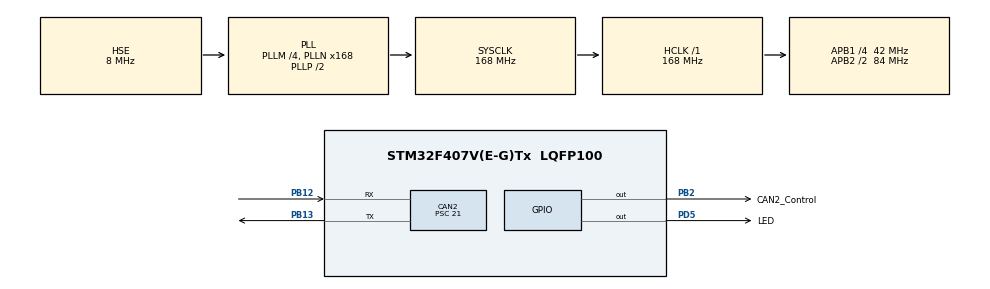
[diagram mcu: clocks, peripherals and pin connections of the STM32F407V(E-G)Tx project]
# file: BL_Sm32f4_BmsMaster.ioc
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CAN2.BS1=CAN_BS1_5TQ
CAN2.BS2=CAN_BS2_2TQ
CAN2.CalculateTimeBit=4000
CAN2.CalculateTimeQuantum=500.0
CAN2.Prescaler=21
Mcu.Family=STM32F4
Mcu.Name=STM32F407V(E-G)Tx
Mcu.Package=LQFP100
NVIC.CAN2_RX0_IRQn=true\:5\:0\:false\:false\:true\:true\:true
NVIC.CAN2_RX1_IRQn=true\:5\:0\:false\:false\:true\:true\:true
NVIC.CAN2_SCE_IRQn=true\:5\:0\:false\:false\:true\:true\:true
NVIC.CAN2_TX_IRQn=true\:5\:0\:false\:false\:true\:true\:true
NVIC.PriorityGroup=NVIC_PRIORITYGROUP_4
PA13.Mode=Serial_Wire
PA13.Signal=SYS_JTMS-SWDIO
PA14.Mode=Serial_Wire
PA14.Signal=SYS_JTCK-SWCLK
PB12.Mode=Slave
PB12.Signal=CAN2_RX
PB13.Mode=Slave
PB13.Signal=CAN2_TX
PB2.GPIO_Label=CAN2_Control
PB2.Signal=GPIO_Output
PD5.GPIO_Label=LED
PD5.Signal=GPIO_Output
PH0-OSC_IN.Mode=HSE-External-Oscillator
PH0-OSC_IN.Signal=RCC_OSC_IN
PH1-OSC_OUT.Mode=HSE-External-Oscillator
PH1-OSC_OUT.Signal=RCC_OSC_OUT
ProjectManager.HeapSize=0x200
ProjectManager.StackSize=0x400
ProjectManager.TargetToolchain=MDK-ARM V5
RCC.48MHZClocksFreq_Value=48000000
RCC.AHBFreq_Value=168000000
RCC.APB1CLKDivider=RCC_HCLK_DIV4
RCC.APB1Freq_Value=42000000
RCC.APB1TimFreq_Value=84000000
RCC.APB2CLKDivider=RCC_HCLK_DIV2
RCC.APB2Freq_Value=84000000
RCC.APB2TimFreq_Value=168000000
RCC.CortexFreq_Value=168000000
RCC.HCLKFreq_Value=168000000
RCC.HSE_VALUE=8000000
RCC.HSI_VALUE=16000000
RCC.LSE_VALUE=32768
RCC.PLLM=4
RCC.PLLN=168
RCC.PLLQ=7
RCC.PLLSourceVirtual=RCC_PLLSOURCE_HSE
RCC.SYSCLKFreq_VALUE=168000000
RCC.SYSCLKSource=RCC_SYSCLKSOURCE_PLLCLK
RCC.VCOOutputFreq_Value=336000000
board=STM32F4DISCOVERY

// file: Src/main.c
/* USER CODE BEGIN Header */
/**
  ******************************************************************************
  * @file           : main.c
  * @brief          : Main program body
  ******************************************************************************
  * @attention
  *
  * <h2><center>&copy; Copyright (c) 2019 STMicroelectronics.
  * All rights reserved.</center></h2>
  *
  * This software component is licensed by ST under BSD 3-Clause license,
  * the "License"; You may not use this file except in compliance with the
  * License. You may obtain a copy of the License at:
  *                        opensource.org/licenses/BSD-3-Clause
  *
  ******************************************************************************
  */
/* USER CODE END Header */

#include "main.h"
#include "can.h"
#include "gpio.h"

/* USER CODE BEGIN Includes */
#include <string.h>

#define  WAIT_HOST    0
#define IDLE        1
#define PAGE_PROG    2

// Flash configuration
#define MAIN_PROGRAM_START_ADDRESS              (uint32_t)0x08004000
#define BOOTLOADER_PROGRAM_START_ADDRESS        (uint32_t)0x08000000
#define MAIN_PROGRAM_PAGE_NUMBER                8
#define NUM_OF_PAGES                            (64)

// CAN identifiers
#define DEVICE_CAN_ID                           0x78E
#define CMD_HOST_INIT                           0x01
#define CMD_PAGE_PROG                           0x02
#define CMD_BOOT                                0x03

#define CAN_RESP_OK                             0x01
#define CAN_RESP_ERROR                          0x02
#define FLASH_PAGE_SIZE                         2048
/* USER CODE END Includes */

/* USER CODE BEGIN PD */
uint32_t canErrorCode;
/* USER CODE END PD */

/* USER CODE BEGIN PV */
/* Private variables ---------------------------------------------------------*/
static FLASH_EraseInitTypeDef eraseInitStruct;

uint8_t                       PageBuffer[FLASH_PAGE_SIZE];
volatile int                  PageBufferPtr;
uint8_t                       PageIndex;
uint32_t                      PageCRC;
uint32_t                      CalculatedCrc;
volatile uint8_t              blState;

/* USER CODE END PV */

void SystemClock_Config(void);
/* USER CODE BEGIN PFP */
/* Private function prototypes -----------------------------------------------*/
/*
  Name  : CRC-32
  Poly  : 0x04C11DB7    x^32 + x^26 + x^23 + x^22 + x^16 + x^12 + x^11
                       + x^10 + x^8 + x^7 + x^5 + x^4 + x^2 + x + 1
  Init  : 0xFFFFFFFF
  Revert: true
  XorOut: 0xFFFFFFFF
  Check : 0xCBF43926 ("123456789")
  MaxLen: 268 435 455 байт (2 147 483 647 бит) - обнаружение
   одинарных, двойных, пакетных и всех нечетных ошибок
*/
uint32_t Crc32(const uint8_t *buf, uint32_t len);
void JumpToApplication(void);
HAL_StatusTypeDef TransmitResponsePacket(uint8_t response);
/* USER CODE END PFP */

int main(void)
{

  /* MCU Configuration--------------------------------------------------------*/

  /* Reset of all peripherals, Initializes the Flash interface and the Systick. */
  HAL_Init();

  /* Configure the system clock */
  SystemClock_Config();

  /* Initialize all configured peripherals */
  MX_GPIO_Init();
  MX_CAN2_Init();
  /* USER CODE BEGIN 2 */

  CAN_FilterTypeDef  sFilterConfig;
  sFilterConfig.FilterBank = 1;
  sFilterConfig.FilterMode = CAN_FILTERMODE_IDMASK;
  sFilterConfig.FilterScale = CAN_FILTERSCALE_32BIT;
  sFilterConfig.FilterIdHigh = 0x0000;
  sFilterConfig.FilterIdLow = 0x0000;
  sFilterConfig.FilterMaskIdHigh = 0x0000;
  sFilterConfig.FilterMaskIdLow = 0x0000;
  sFilterConfig.FilterFIFOAssignment = CAN_RX_FIFO0;
  sFilterConfig.FilterActivation = ENABLE;
  HAL_CAN_ConfigFilter(&hcan2, &sFilterConfig);

	HAL_CAN_Start(&hcan2);
	HAL_CAN_ActivateNotification(&hcan2,CAN_IT_RX_FIFO0_MSG_PENDING);

  HAL_GPIO_WritePin(LED_GPIO_Port,LED_Pin,GPIO_PIN_SET);
  HAL_Delay(500);
	HAL_GPIO_WritePin(LED_GPIO_Port,LED_Pin,GPIO_PIN_RESET);

  // Timed out waiting for host
  if (blState == WAIT_HOST) {
    JumpToApplication();
  }
  /* USER CODE END 2 */

  /* Infinite loop */
  while (1)
  {

    /* USER CODE BEGIN 3 */
//  TransmitResponsePacket(CAN_RESP_OK);
//	HAL_Delay(100);
  }
  /* USER CODE END 3 */
}

void SystemClock_Config(void)
{
  RCC_OscInitTypeDef RCC_OscInitStruct = {0};
  RCC_ClkInitTypeDef RCC_ClkInitStruct = {0};

  /** Configure the main internal regulator output voltage
  */
  __HAL_RCC_PWR_CLK_ENABLE();
  __HAL_PWR_VOLTAGESCALING_CONFIG(PWR_REGULATOR_VOLTAGE_SCALE1);
  /** Initializes the CPU, AHB and APB busses clocks
  */
  RCC_OscInitStruct.OscillatorType = RCC_OSCILLATORTYPE_HSE;
  RCC_OscInitStruct.HSEState = RCC_HSE_ON;
  RCC_OscInitStruct.PLL.PLLState = RCC_PLL_ON;
  RCC_OscInitStruct.PLL.PLLSource = RCC_PLLSOURCE_HSE;
  RCC_OscInitStruct.PLL.PLLM = 4;
  RCC_OscInitStruct.PLL.PLLN = 168;
  RCC_OscInitStruct.PLL.PLLP = RCC_PLLP_DIV2;
  RCC_OscInitStruct.PLL.PLLQ = 7;
  if (HAL_RCC_OscConfig(&RCC_OscInitStruct) != HAL_OK)
  {
    Error_Handler();
  }
  /** Initializes the CPU, AHB and APB busses clocks
  */
  RCC_ClkInitStruct.ClockType = RCC_CLOCKTYPE_HCLK|RCC_CLOCKTYPE_SYSCLK
                              |RCC_CLOCKTYPE_PCLK1|RCC_CLOCKTYPE_PCLK2;
  RCC_ClkInitStruct.SYSCLKSource = RCC_SYSCLKSOURCE_PLLCLK;
  RCC_ClkInitStruct.AHBCLKDivider = RCC_SYSCLK_DIV1;
  RCC_ClkInitStruct.APB1CLKDivider = RCC_HCLK_DIV4;
  RCC_ClkInitStruct.APB2CLKDivider = RCC_HCLK_DIV2;

  if (HAL_RCC_ClockConfig(&RCC_ClkInitStruct, FLASH_LATENCY_5) != HAL_OK)
  {
    Error_Handler();
  }
}

/* USER CODE BEGIN 4 */
void JumpToApplication()
{
	//объявляем пользовательский тип
	typedef void (*pFunction)(void);
	//и создаём переменную этого типа
	pFunction JumpAddress;
	// извлекаем адрес перехода из вектора Reset
  // и приводим его к пользовательскому типу
  JumpAddress = *(__IO pFunction*)(MAIN_PROGRAM_START_ADDRESS + 4);
  //устанавливаем SP приложения
  __set_MSP(*(__IO uint32_t*) MAIN_PROGRAM_START_ADDRESS);
  HAL_DeInit();
	// переход в основную программу
  JumpAddress();
}

HAL_StatusTypeDef TransmitResponsePacket(uint8_t response)
{
	CAN_TxHeaderTypeDef   TxHeader;
	TxHeader.StdId = DEVICE_CAN_ID;
  TxHeader.ExtId = DEVICE_CAN_ID;
  TxHeader.RTR = CAN_RTR_DATA;
  TxHeader.IDE = CAN_ID_EXT;
  TxHeader.DLC = 8;
  TxHeader.TransmitGlobalTime = DISABLE;
	uint8_t TxData[8] = {0,0,0,0,0,0,0,0};
	TxData[0] = response;
  return HAL_CAN_AddTxMessage(&hcan2, &TxHeader, TxData,(uint32_t *) CAN_TX_MAILBOX0);
}
void ErrorCallback(CAN_HandleTypeDef *hcan){
  canErrorCode = hcan->ErrorCode;
}
void HAL_CAN_RxFifo0MsgPendingCallback(CAN_HandleTypeDef *hcan)
{
	CAN_RxHeaderTypeDef   RxHeader;  // Принимаемые CAN сообщения
	RxHeader.StdId = DEVICE_CAN_ID;
  RxHeader.ExtId = DEVICE_CAN_ID;
  RxHeader.RTR = CAN_RTR_DATA;
  RxHeader.IDE = CAN_ID_EXT;
  RxHeader.DLC = 8;
	uint8_t RxData[8] = {0,0,0,0,0,0,0,0};
	/* Get RX message */
  if (HAL_CAN_GetRxMessage(hcan, CAN_RX_FIFO0, &RxHeader, RxData) != HAL_OK)
  {
    /* Reception Error */
    Error_Handler();
  }
  // Skip messages not intended for our device
  if (RxHeader.ExtId != DEVICE_CAN_ID && RxHeader.StdId != DEVICE_CAN_ID)
  {
    return;
  }

  if (blState == PAGE_PROG)
  {
    memcpy(&PageBuffer[PageBufferPtr],
      RxData,
      RxHeader.DLC);
    PageBufferPtr += RxHeader.DLC;

    if (PageBufferPtr == FLASH_PAGE_SIZE) {
      HAL_NVIC_DisableIRQ(CAN2_TX_IRQn);
      HAL_NVIC_DisableIRQ(CAN2_RX0_IRQn);
      HAL_NVIC_DisableIRQ(CAN2_RX1_IRQn);
      HAL_NVIC_DisableIRQ(CAN2_SCE_IRQn);

      CalculatedCrc = Crc32(PageBuffer, FLASH_PAGE_SIZE);

      if (CalculatedCrc == PageCRC && PageIndex <= NUM_OF_PAGES)
      {
				HAL_GPIO_TogglePin(LED_GPIO_Port,LED_Pin);
        HAL_FLASH_Unlock();

        uint32_t PageError = 0;

        eraseInitStruct.TypeErase = FLASH_TYPEERASE_SECTORS;
        eraseInitStruct.Sector = BOOTLOADER_PROGRAM_START_ADDRESS + PageIndex * FLASH_PAGE_SIZE;
        eraseInitStruct.NbSectors = 1;

        HAL_FLASHEx_Erase(&eraseInitStruct, &PageError);

        for (uint32_t i = 0; i < FLASH_PAGE_SIZE; i += 4)
        {
          HAL_FLASH_Program(FLASH_TYPEPROGRAM_WORD, BOOTLOADER_PROGRAM_START_ADDRESS + PageIndex * FLASH_PAGE_SIZE + i, *(uint32_t*)&PageBuffer[i]);
        }

        HAL_FLASH_Lock();

        TransmitResponsePacket(CAN_RESP_OK);
      }
      else
      {
        TransmitResponsePacket(CAN_RESP_ERROR);
      }

      blState = IDLE;

			HAL_NVIC_EnableIRQ(CAN2_TX_IRQn);
      HAL_NVIC_EnableIRQ(CAN2_RX0_IRQn);
      HAL_NVIC_EnableIRQ(CAN2_RX1_IRQn);
      HAL_NVIC_EnableIRQ(CAN2_SCE_IRQn);
    }
    return;
  }

  switch(RxData[0])
  {
    case CMD_HOST_INIT:
      blState = IDLE;
      TransmitResponsePacket(CAN_RESP_OK);
      break;
    case CMD_PAGE_PROG:
      if (blState == IDLE) {
				// очищает страницу
        memset(PageBuffer, 0, FLASH_PAGE_SIZE);
				//контрольная сумма
        memcpy(&PageCRC, &RxData[2], sizeof(uint32_t));
				// номер страницы
        PageIndex = RxData[1] + MAIN_PROGRAM_PAGE_NUMBER;
        blState = PAGE_PROG;
        PageBufferPtr = 0;
      } else {
        // Should never get here
      }
      break;
    case CMD_BOOT:
      TransmitResponsePacket(CAN_RESP_OK);
      JumpToApplication();
      break;
    default:
      break;
  }
}
const uint32_t Crc32Table[256] = {
    0x00000000, 0x77073096, 0xEE0E612C, 0x990951BA,
    0x076DC419, 0x706AF48F, 0xE963A535, 0x9E6495A3,
    0x0EDB8832, 0x79DCB8A4, 0xE0D5E91E, 0x97D2D988,
    0x09B64C2B, 0x7EB17CBD, 0xE7B82D07, 0x90BF1D91,
    0x1DB71064, 0x6AB020F2, 0xF3B97148, 0x84BE41DE,
    0x1ADAD47D, 0x6DDDE4EB, 0xF4D4B551, 0x83D385C7,
    0x136C9856, 0x646BA8C0, 0xFD62F97A, 0x8A65C9EC,
    0x14015C4F, 0x63066CD9, 0xFA0F3D63, 0x8D080DF5,
    0x3B6E20C8, 0x4C69105E, 0xD56041E4, 0xA2677172,
    0x3C03E4D1, 0x4B04D447, 0xD20D85FD, 0xA50AB56B,
    0x35B5A8FA, 0x42B2986C, 0xDBBBC9D6, 0xACBCF940,
    0x32D86CE3, 0x45DF5C75, 0xDCD60DCF, 0xABD13D59,
    0x26D930AC, 0x51DE003A, 0xC8D75180, 0xBFD06116,
    0x21B4F4B5, 0x56B3C423, 0xCFBA9599, 0xB8BDA50F,
    0x2802B89E, 0x5F058808, 0xC60CD9B2, 0xB10BE924,
    0x2F6F7C87, 0x58684C11, 0xC1611DAB, 0xB6662D3D,
    0x76DC4190, 0x01DB7106, 0x98D220BC, 0xEFD5102A,
    0x71B18589, 0x06B6B51F, 0x9FBFE4A5, 0xE8B8D433,
    0x7807C9A2, 0x0F00F934, 0x9609A88E, 0xE10E9818,
    0x7F6A0DBB, 0x086D3D2D, 0x91646C97, 0xE6635C01,
    0x6B6B51F4, 0x1C6C6162, 0x856530D8, 0xF262004E,
    0x6C0695ED, 0x1B01A57B, 0x8208F4C1, 0xF50FC457,
    0x65B0D9C6, 0x12B7E950, 0x8BBEB8EA, 0xFCB9887C,
    0x62DD1DDF, 0x15DA2D49, 0x8CD37CF3, 0xFBD44C65,
    0x4DB26158, 0x3AB551CE, 0xA3BC0074, 0xD4BB30E2,
    0x4ADFA541, 0x3DD895D7, 0xA4D1C46D, 0xD3D6F4FB,
    0x4369E96A, 0x346ED9FC, 0xAD678846, 0xDA60B8D0,
    0x44042D73, 0x33031DE5, 0xAA0A4C5F, 0xDD0D7CC9,
    0x5005713C, 0x270241AA, 0xBE0B1010, 0xC90C2086,
    0x5768B525, 0x206F85B3, 0xB966D409, 0xCE61E49F,
    0x5EDEF90E, 0x29D9C998, 0xB0D09822, 0xC7D7A8B4,
    0x59B33D17, 0x2EB40D81, 0xB7BD5C3B, 0xC0BA6CAD,
    0xEDB88320, 0x9ABFB3B6, 0x03B6E20C, 0x74B1D29A,
    0xEAD54739, 0x9DD277AF, 0x04DB2615, 0x73DC1683,
    0xE3630B12, 0x94643B84, 0x0D6D6A3E, 0x7A6A5AA8,
    0xE40ECF0B, 0x9309FF9D, 0x0A00AE27, 0x7D079EB1,
    0xF00F9344, 0x8708A3D2, 0x1E01F268, 0x6906C2FE,
    0xF762575D, 0x806567CB, 0x196C3671, 0x6E6B06E7,
    0xFED41B76, 0x89D32BE0, 0x10DA7A5A, 0x67DD4ACC,
    0xF9B9DF6F, 0x8EBEEFF9, 0x17B7BE43, 0x60B08ED5,
    0xD6D6A3E8, 0xA1D1937E, 0x38D8C2C4, 0x4FDFF252,
    0xD1BB67F1, 0xA6BC5767, 0x3FB506DD, 0x48B2364B,
    0xD80D2BDA, 0xAF0A1B4C, 0x36034AF6, 0x41047A60,
    0xDF60EFC3, 0xA867DF55, 0x316E8EEF, 0x4669BE79,
    0xCB61B38C, 0xBC66831A, 0x256FD2A0, 0x5268E236,
    0xCC0C7795, 0xBB0B4703, 0x220216B9, 0x5505262F,
    0xC5BA3BBE, 0xB2BD0B28, 0x2BB45A92, 0x5CB36A04,
    0xC2D7FFA7, 0xB5D0CF31, 0x2CD99E8B, 0x5BDEAE1D,
    0x9B64C2B0, 0xEC63F226, 0x756AA39C, 0x026D930A,
    0x9C0906A9, 0xEB0E363F, 0x72076785, 0x05005713,
    0x95BF4A82, 0xE2B87A14, 0x7BB12BAE, 0x0CB61B38,
    0x92D28E9B, 0xE5D5BE0D, 0x7CDCEFB7, 0x0BDBDF21,
    0x86D3D2D4, 0xF1D4E242, 0x68DDB3F8, 0x1FDA836E,
    0x81BE16CD, 0xF6B9265B, 0x6FB077E1, 0x18B74777,
    0x88085AE6, 0xFF0F6A70, 0x66063BCA, 0x11010B5C,
    0x8F659EFF, 0xF862AE69, 0x616BFFD3, 0x166CCF45,
    0xA00AE278, 0xD70DD2EE, 0x4E048354, 0x3903B3C2,
    0xA7672661, 0xD06016F7, 0x4969474D, 0x3E6E77DB,
    0xAED16A4A, 0xD9D65ADC, 0x40DF0B66, 0x37D83BF0,
    0xA9BCAE53, 0xDEBB9EC5, 0x47B2CF7F, 0x30B5FFE9,
    0xBDBDF21C, 0xCABAC28A, 0x53B39330, 0x24B4A3A6,
    0xBAD03605, 0xCDD70693, 0x54DE5729, 0x23D967BF,
    0xB3667A2E, 0xC4614AB8, 0x5D681B02, 0x2A6F2B94,
    0xB40BBE37, 0xC30C8EA1, 0x5A05DF1B, 0x2D02EF8D
};

uint32_t Crc32(const uint8_t *buf, uint32_t len)
{
    uint32_t crc = 0xFFFFFFFF;
    while (len>0){
			len--;
      crc = (crc >> 8) ^ Crc32Table[(crc ^ *buf++) & 0xFF];
		}
		crc = crc ^ 0xFFFFFFFF;
    return crc;
}
/* USER CODE END 4 */

void Error_Handler(void)
{
}

/************************ (C) COPYRIGHT STMicroelectronics *****END OF FILE****/
